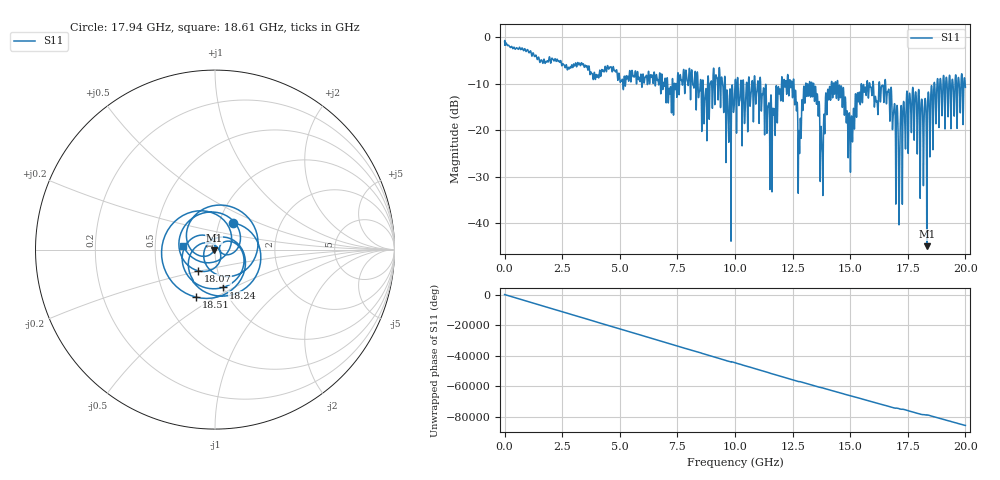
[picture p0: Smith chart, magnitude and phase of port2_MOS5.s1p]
! MS46122B
! 2250307/22442219
! 6/15/2025 11:01:28 AM
! C:\USERS\SPARKY\DOCUMENTS\VNA_DATA\JUNE15_2025\295K\PORT2_MOS5.S1P
! CHANNEL.1
! TR.MEASUREMENT
! RAW.DATA
# GHZ S RI R 50.0
! FREQ.GHZ  S11RE  S11IM
!; PortSelection: Port_1
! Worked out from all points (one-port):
!   10001 points, 1 MHz to 20 GHz, reference 50 ohm
!   lowest |S11| = -44.9 dB at 18.32 GHz (marker M1), VSWR 1.01, Z = 49.5 - j0.301 ohm
!   |S11| at or under -10 dB: 11.11 GHz to 12.01 GHz (902.2 MHz wide, 7.8 % of centre); 14.46 GHz to 15.48 GHz (1.021 GHz wide, 6.82 % of centre); 16.54 GHz to 18.64 GHz (2.104 GHz wide, 12 % of centre) (the widest 3 of 75)
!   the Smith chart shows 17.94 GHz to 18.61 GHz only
!   S11 on the Smith chart (normalised r, x): 17.94 GHz: 1.16, +0.36; 18.07 GHz: 0.81, -0.19; 18.24 GHz: 0.99, -0.44; 18.51 GHz: 0.71, -0.41; 18.61 GHz: 0.70, +0.03
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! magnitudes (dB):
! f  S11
! 1 MHz  -1.0
! 2.501 GHz  -6.0
! 5.001 GHz  -9.3
! 7.501 GHz  -9.4
! 10 GHz  -10.1
! 10.92 GHz  -12.9
! 11.59 GHz  -18.8
! 11.96 GHz  -11.6
! 12.5 GHz  -12.9
! 12.79 GHz  -23.6
! 13 GHz  -10.6
! 13.32 GHz  -9.7
! 13.57 GHz  -12.2
! 13.79 GHz  -24.2
! 14.02 GHz  -11.6
! 14.37 GHz  -9.7
! 15 GHz  -24.1
! 15.66 GHz  -10.9
! 16.59 GHz  -12.7
! 17.06 GHz  -17.3
! 17.5 GHz  -16.9
! 17.94 GHz  -15.0
! 18.07 GHz  -16.4
! 18.24 GHz  -13.3
! 18.32 GHz  -44.9
! 18.51 GHz  -10.9
! 18.61 GHz  -15.0
! 20 GHz  -10.8
